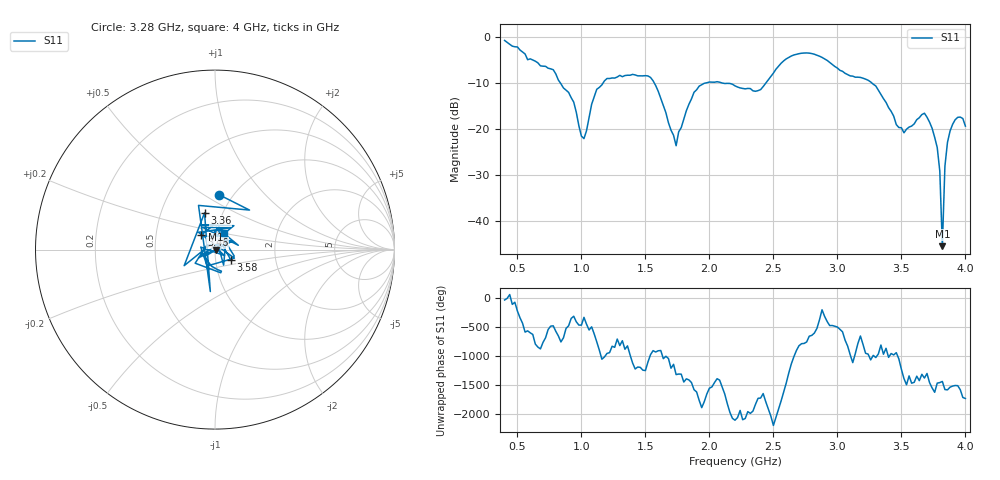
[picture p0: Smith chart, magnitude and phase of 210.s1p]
!Created with skrf (http://scikit-rf.org).
# Hz S RI R 50.0
!freq ReS11 ImS11
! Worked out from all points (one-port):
!   181 points, 400 MHz to 4 GHz, reference 50 ohm
!   lowest |S11| = -45.6 dB at 3.82 GHz (marker M1), VSWR 1.01, Z = 50.5 - j0.0306 ohm
!   |S11| at or under -10 dB: 1.569 GHz to 1.977 GHz (408.4 MHz wide, 23 % of centre); 2.096 GHz to 2.443 GHz (347.1 MHz wide, 15.3 % of centre); 3.268 GHz to end of sweep (the widest 3 of 4)
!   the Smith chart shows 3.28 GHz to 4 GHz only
!   S11 on the Smith chart (normalised r, x): 3.28 GHz: 0.87, +0.58; 3.36 GHz: 0.82, +0.35; 3.46 GHz: 0.85, +0.14; 3.58 GHz: 1.19, -0.14; 4 GHz: 1.08, +0.21
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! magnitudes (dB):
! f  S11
! 400 MHz  -0.8
! 780 MHz  -7.1
! 860 MHz  -11.1
! 940 MHz  -14.2
! 1.02 GHz  -22.1
! 1.12 GHz  -11.4
! 1.3 GHz  -8.4
! 1.54 GHz  -8.8
! 1.74 GHz  -23.7
! 1.76 GHz  -20.7
! 1.92 GHz  -10.7
! 2.2 GHz  -10.7
! 2.4 GHz  -11.5
! 2.66 GHz  -3.9
! 3.1 GHz  -8.5
! 3.28 GHz  -10.3
! 3.36 GHz  -13.4
! 3.46 GHz  -19.1
! 3.56 GHz  -19.6
! 3.58 GHz  -19.4
! 3.68 GHz  -16.6
! 3.76 GHz  -21.9
! 3.8 GHz  -29.2
! 3.82 GHz  -45.6
! 3.84 GHz  -28.2
! 3.86 GHz  -23.0
! 3.94 GHz  -17.5
! 4 GHz  -19.4
